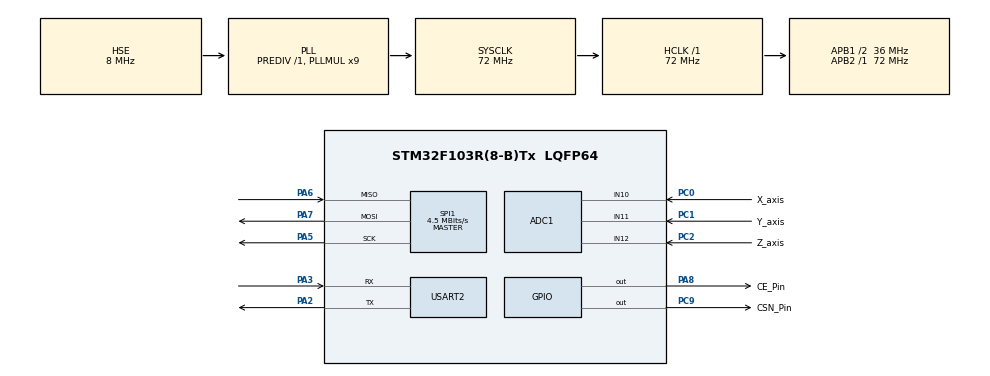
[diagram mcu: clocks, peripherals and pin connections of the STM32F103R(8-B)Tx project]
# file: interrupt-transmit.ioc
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ADC1.Channel-0\#ChannelRegularConversion=ADC_CHANNEL_10
ADC1.Channel-5\#ChannelRegularConversion=ADC_CHANNEL_11
ADC1.Channel-6\#ChannelRegularConversion=ADC_CHANNEL_12
ADC1.ContinuousConvMode=ENABLE
ADC1.DiscontinuousConvMode=DISABLE
ADC1.NbrOfConversion=3
ADC1.NbrOfConversionFlag=1
ADC1.Rank-0\#ChannelRegularConversion=1
ADC1.Rank-5\#ChannelRegularConversion=2
ADC1.Rank-6\#ChannelRegularConversion=3
ADC1.SamplingTime-0\#ChannelRegularConversion=ADC_SAMPLETIME_239CYCLES_5
ADC1.SamplingTime-5\#ChannelRegularConversion=ADC_SAMPLETIME_239CYCLES_5
ADC1.SamplingTime-6\#ChannelRegularConversion=ADC_SAMPLETIME_239CYCLES_5
ADC1.master=1
Dma.ADC1.0.Direction=DMA_PERIPH_TO_MEMORY
Dma.ADC1.0.Instance=DMA1_Channel1
Dma.ADC1.0.MemDataAlignment=DMA_MDATAALIGN_HALFWORD
Dma.ADC1.0.MemInc=DMA_MINC_ENABLE
Dma.ADC1.0.Mode=DMA_CIRCULAR
Dma.ADC1.0.PeriphDataAlignment=DMA_PDATAALIGN_HALFWORD
Dma.ADC1.0.PeriphInc=DMA_PINC_DISABLE
Dma.ADC1.0.Priority=DMA_PRIORITY_LOW
Dma.Request0=ADC1
Mcu.Family=STM32F1
Mcu.Name=STM32F103R(8-B)Tx
Mcu.Package=LQFP64
NVIC.ADC1_2_IRQn=true\:0\:0\:false\:false\:true\:true\:true\:true
NVIC.DMA1_Channel1_IRQn=true\:0\:0\:false\:false\:true\:false\:true\:true
NVIC.PriorityGroup=NVIC_PRIORITYGROUP_4
NVIC.TIM2_IRQn=true\:0\:0\:false\:false\:true\:true\:true\:true
PA2.Mode=Asynchronous
PA2.Signal=USART2_TX
PA3.Mode=Asynchronous
PA3.Signal=USART2_RX
PA5.Mode=Full_Duplex_Master
PA5.Signal=SPI1_SCK
PA6.Mode=Full_Duplex_Master
PA6.Signal=SPI1_MISO
PA7.Mode=Full_Duplex_Master
PA7.Signal=SPI1_MOSI
PA8.GPIO_Label=CE_Pin
PA8.Signal=GPIO_Output
PC0.GPIO_Label=X_axis
PC0.Signal=ADCx_IN10
PC1.GPIO_Label=Y_axis
PC1.Signal=ADCx_IN11
PC14-OSC32_IN.Mode=LSE-External-Oscillator
PC14-OSC32_IN.Signal=RCC_OSC32_IN
PC15-OSC32_OUT.Mode=LSE-External-Oscillator
PC15-OSC32_OUT.Signal=RCC_OSC32_OUT
PC2.GPIO_Label=Z_axis
PC2.Signal=ADCx_IN12
PC9.GPIO_Label=CSN_Pin
PC9.Signal=GPIO_Output
PD0-OSC_IN.Mode=HSE-External-Clock-Source
PD0-OSC_IN.Signal=RCC_OSC_IN
PD1-OSC_OUT.Mode=HSE-External-Clock-Source
PD1-OSC_OUT.Signal=RCC_OSC_OUT
ProjectManager.HeapSize=0x200
ProjectManager.StackSize=0x400
ProjectManager.TargetToolchain=STM32CubeIDE
RCC.ADCPresc=RCC_ADCPCLK2_DIV6
RCC.AHBFreq_Value=72000000
RCC.APB1CLKDivider=RCC_HCLK_DIV2
RCC.APB1Freq_Value=36000000
RCC.APB1TimFreq_Value=72000000
RCC.APB2Freq_Value=72000000
RCC.APB2TimFreq_Value=72000000
RCC.HCLKFreq_Value=72000000
RCC.PLLMUL=RCC_PLL_MUL9
RCC.PLLSourceVirtual=RCC_PLLSOURCE_HSE
RCC.RTCClockSelection=RCC_RTCCLKSOURCE_LSE
RCC.SYSCLKFreq_VALUE=72000000
RCC.SYSCLKSource=RCC_SYSCLKSOURCE_PLLCLK
RCC.USBFreq_Value=72000000
SH.ADCx_IN10.0=ADC1_IN10,IN10
SH.ADCx_IN11.0=ADC1_IN11,IN11
SH.ADCx_IN12.0=ADC1_IN12,IN12
SPI1.BaudRatePrescaler=SPI_BAUDRATEPRESCALER_16
SPI1.CalculateBaudRate=4.5 MBits/s
SPI1.Direction=SPI_DIRECTION_2LINES
SPI1.Mode=SPI_MODE_MASTER
SPI1.VirtualType=VM_MASTER
TIM2.Period=200-1
TIM2.Prescaler=7200-1
USART2.VirtualMode=VM_ASYNC
VP_SYS_VS_ND.Mode=No_Debug
VP_TIM2_VS_ClockSourceINT.Mode=Internal
board=NUCLEO-F103RB

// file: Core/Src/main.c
/* USER CODE BEGIN Header */

/**

******************************************************************************

* @file : main.c

* @brief : Main program body

******************************************************************************

* @attention

*

* Copyright (c) 2025 STMicroelectronics.

* All rights reserved.

*

* This software is licensed under terms that can be found in the LICENSE file

* in the root directory of this software component.

* If no LICENSE file comes with this software, it is provided AS-IS.

*

******************************************************************************

*/

/* USER CODE END Header */
#include "main.h"
#include "adc.h"
#include "dma.h"
#include "spi.h"
#include "tim.h"
#include "usart.h"
#include "gpio.h"

/* USER CODE BEGIN Includes */

#include "NRF24.h"
#include "NRF24_conf.h"
#include "stdio.h"
#include "string.h"
#include "NRF24_reg_addresses.h"

/* USER CODE END Includes */

/* USER CODE BEGIN PV */
//volatile uint16_t adc_values[3];
volatile uint8_t  adc_data_ready_flag = 0;
volatile uint32_t adc_cb_cnt = 0;
volatile uint16_t adc_buffer[3] = {0};	//ADC가 변환한 x, y, z값을 DMA가 담는 버퍼 - x, y, z 3개
volatile uint8_t adc_conversion_complete = 0;

uint8_t payload[6];

/* USER CODE END PV */

void SystemClock_Config(void);

/* USER CODE BEGIN 0 */
uint8_t tx_address[5] = {0xE7, 0xE7, 0xE7, 0xE7, 0xE7};

void nrf24_transmitter_setup(void);
void transmit_sensor_data(void);

extern ADC_HandleTypeDef hadc1;
extern SPI_HandleTypeDef hspi1;
extern UART_HandleTypeDef huart2;
extern DMA_HandleTypeDef hdma_adc1;

/* USER CODE END 0 */

int main(void)
{

  /* MCU Configuration--------------------------------------------------------*/

  /* Reset of all peripherals, Initializes the Flash interface and the Systick. */
  HAL_Init();

  /* Configure the system clock */
  SystemClock_Config();

  /* Initialize all configured peripherals */
  MX_GPIO_Init();
  MX_DMA_Init();
  MX_SPI1_Init();
  MX_USART2_UART_Init();
  MX_ADC1_Init();
  MX_TIM2_Init();
  /* USER CODE BEGIN 2 */

HAL_ADCEx_Calibration_Start(&hadc1);
//타이머 인터럽트 시작 20ms마다
HAL_TIM_Base_Start_IT(&htim2);

nrf24_init();
nrf24_transmitter_setup();

  /* USER CODE END 2 */

  /* Infinite loop */
while (1)
{

    /* USER CODE BEGIN 3 */

	 if(adc_conversion_complete){	//DMA가 메모리 저장을 완료하여 콜백함수에 의해 adc_conversion_complete = 1이 되어 조건이 참이된다면
			  transmit_sensor_data();
		  }
	  __WFI();

}

  /* USER CODE END 3 */
}

void SystemClock_Config(void)
{
  RCC_OscInitTypeDef RCC_OscInitStruct = {0};
  RCC_ClkInitTypeDef RCC_ClkInitStruct = {0};
  RCC_PeriphCLKInitTypeDef PeriphClkInit = {0};

  /** Initializes the RCC Oscillators according to the specified parameters
  * in the RCC_OscInitTypeDef structure.
  */
  RCC_OscInitStruct.OscillatorType = RCC_OSCILLATORTYPE_HSE;
  RCC_OscInitStruct.HSEState = RCC_HSE_BYPASS;
  RCC_OscInitStruct.HSEPredivValue = RCC_HSE_PREDIV_DIV1;
  RCC_OscInitStruct.HSIState = RCC_HSI_ON;
  RCC_OscInitStruct.PLL.PLLState = RCC_PLL_ON;
  RCC_OscInitStruct.PLL.PLLSource = RCC_PLLSOURCE_HSE;
  RCC_OscInitStruct.PLL.PLLMUL = RCC_PLL_MUL9;
  if (HAL_RCC_OscConfig(&RCC_OscInitStruct) != HAL_OK)
  {
    Error_Handler();
  }

  /** Initializes the CPU, AHB and APB buses clocks
  */
  RCC_ClkInitStruct.ClockType = RCC_CLOCKTYPE_HCLK|RCC_CLOCKTYPE_SYSCLK
                              |RCC_CLOCKTYPE_PCLK1|RCC_CLOCKTYPE_PCLK2;
  RCC_ClkInitStruct.SYSCLKSource = RCC_SYSCLKSOURCE_PLLCLK;
  RCC_ClkInitStruct.AHBCLKDivider = RCC_SYSCLK_DIV1;
  RCC_ClkInitStruct.APB1CLKDivider = RCC_HCLK_DIV2;
  RCC_ClkInitStruct.APB2CLKDivider = RCC_HCLK_DIV1;

  if (HAL_RCC_ClockConfig(&RCC_ClkInitStruct, FLASH_LATENCY_2) != HAL_OK)
  {
    Error_Handler();
  }
  PeriphClkInit.PeriphClockSelection = RCC_PERIPHCLK_ADC;
  PeriphClkInit.AdcClockSelection = RCC_ADCPCLK2_DIV6;
  if (HAL_RCCEx_PeriphCLKConfig(&PeriphClkInit) != HAL_OK)
  {
    Error_Handler();
  }
}

/* USER CODE BEGIN 4 */

void nrf24_transmitter_setup(void)

{
nrf24_defaults();
nrf24_pwr_up();
nrf24_flush_tx();
nrf24_flush_rx();
nrf24_clear_rx_dr();
nrf24_clear_tx_ds();
nrf24_clear_max_rt();
nrf24_stop_listen();                        //수신모드 비활성화 하여 송신 전용 모드로 전환
nrf24_set_channel(40);                      //무선 채널 40번으로 설정
nrf24_auto_ack_all(disable);                //자동 ack기능 off=>단순 송신만 수행
nrf24_set_payload_size(6);                  //한번에 전송할 페이로드 크기 최대 32바이트
nrf24_tx_pwr(3);
nrf24_data_rate(_1mbps);
nrf24_open_tx_pipe(tx_address);             //파이프 0에 tx_address를 열어 송신 대상 지정
nrf24_pwr_up();                             //모듈 power up=>송신 준비 완료

    uint8_t cfg = nrf24_r_reg(CONFIG, 1);
    cfg &= ~((1<<5)|(1<<4));                // MASK_TX_DS=5, MASK_MAX_RT=4 -> 0
    nrf24_w_reg(CONFIG, &cfg, 1);
}

int __io_putchar(int ch)
{
HAL_UART_Transmit(&huart2, (uint8_t*)&ch, 1, HAL_MAX_DELAY);
return ch;
}

void transmit_sensor_data(void){
	adc_conversion_complete = 0;

	uint16_t local_adc_buffer[3];

	//adc_buffer값을 local_adc_buffer에 복사
	__disable_irq(); //복사중 모든 인터럽트 중지
	memcpy(local_adc_buffer, (void*)adc_buffer, sizeof(adc_buffer));
	__enable_irq(); //인터럽트 허용
/*memcpy함수는 메모리 특정 영역을 다른 영역으로 복사한다
 *함수 기본형태-void *memcpy(붙여넣을 메모리 시작주소, 복사할 내용이 있는 메모리 시작주소, sizeof(원본);
 *함수
 */

	uint16_t x = local_adc_buffer[0];
	uint16_t y = local_adc_buffer[1];
	uint16_t z = local_adc_buffer[2];

	//6바이트 2진 패킹
	uint8_t payload[6];
	payload[0] = (uint8_t)(x & 0xff);	//x하위8비트
	payload[1] = (uint8_t)(x >> 8);		//x상위8비트 시프트
	payload[2] = (uint8_t)(y & 0xff);	//y하위8비트
	payload[3] = (uint8_t)(y >> 8);		//y상위8비트
	payload[4] = (uint8_t)(z & 0xff);	//z하위8비트
	payload[5] = (uint8_t)(z >> 8);		//z상위8비트

	//최종 데이터 발송
	nrf24_transmit(payload, 6);

	char dbg[64];
	int dlen = snprintf(dbg, sizeof(dbg), "X: %u | Y: %u | Z: %u\r\n", x, y, z);
	HAL_UART_Transmit(&huart2, (uint8_t*)dbg, dlen, 100);

}

//타이머가 만료될 때마다 호출되는 콜백함수 20ms주기
void HAL_TIM_PeriodElapsedCallback(TIM_HandleTypeDef *htim)
{
    // 이벤트가 발생한 타이머가 TIM2인지 확인
    if (htim->Instance == TIM2)
    {
    	//3개의 ADC값을 변환해서 그 결과를 adc_buffer에 DMA로 저장 시작
        HAL_ADC_Start_DMA(&hadc1, (uint32_t*)adc_buffer, 3);
    }
}

void HAL_ADC_ConvCpltCallback(ADC_HandleTypeDef *hadc)
{
    // 이벤트가 발생한 ADC가 ADC1인지 확인
    if (hadc->Instance == ADC1)
    {
        // Main루프의 if문 조건이 참이 되어 transmit_sensor_data함수호출
        adc_conversion_complete = 1;
    }
}

//ADC변환 중 오류가 발생했을 때 자동으로 호출, DMA전송을 중지
void HAL_ADC_ErrorCallback(ADC_HandleTypeDef *hadc)
{
    if (hadc->Instance == ADC1)
    {
        // ADC 오류 발생 시, 진행 중이던 DMA를 안전하게 중지
        // 다음 타이머 주기(20ms 후)에 HAL_ADC_Start_DMA가 다시 호출되며 자동으로 복구를 시도함
        HAL_ADC_Stop_DMA(&hadc1);
    }
}

/* USER CODE END 4 */

void Error_Handler(void)
{
__disable_irq();
while (1)
{
}
}
